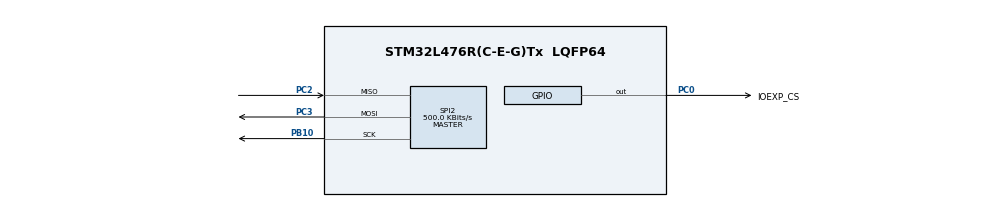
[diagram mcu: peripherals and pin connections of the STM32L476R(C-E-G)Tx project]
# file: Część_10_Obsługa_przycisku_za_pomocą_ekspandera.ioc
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Mcu.Family=STM32L4
Mcu.Name=STM32L476R(C-E-G)Tx
Mcu.Package=LQFP64
NVIC.PriorityGroup=NVIC_PRIORITYGROUP_4
PB10.Mode=Full_Duplex_Master
PB10.Signal=SPI2_SCK
PC0.GPIO_Label=IOEXP_CS
PC0.PinState=GPIO_PIN_SET
PC0.Signal=GPIO_Output
PC2.Mode=Full_Duplex_Master
PC2.Signal=SPI2_MISO
PC3.Mode=Full_Duplex_Master
PC3.Signal=SPI2_MOSI
ProjectManager.HeapSize=0x200
ProjectManager.StackSize=0x400
ProjectManager.TargetToolchain=STM32CubeIDE
RCC.HSE_VALUE=8000000
RCC.HSI_VALUE=16000000
RCC.LSE_VALUE=32768
RCC.MSI_VALUE=4000000
RCC.VCOOutputFreq_Value=32000000
SPI2.BaudRatePrescaler=SPI_BAUDRATEPRESCALER_8
SPI2.CalculateBaudRate=500.0 KBits/s
SPI2.DataSize=SPI_DATASIZE_8BIT
SPI2.Direction=SPI_DIRECTION_2LINES
SPI2.Mode=SPI_MODE_MASTER
SPI2.VirtualType=VM_MASTER
board=custom

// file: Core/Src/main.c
/* USER CODE BEGIN Header */
/**
  ******************************************************************************
  * @file           : main.c
  * @brief          : Main program body
  ******************************************************************************
  * @attention
  *
  * Copyright (c) 2026 STMicroelectronics.
  * All rights reserved.
  *
  * This software is licensed under terms that can be found in the LICENSE file
  * in the root directory of this software component.
  * If no LICENSE file comes with this software, it is provided AS-IS.
  *
  ******************************************************************************
  */
/* USER CODE END Header */
#include "main.h"

/* USER CODE BEGIN PD */
#define MCP_IODIR		0x00
#define MCP_IPOL		0x01
#define MCP_GPINTEN		0x02
#define MCP_DEFVAL		0x03
#define MCP_INTCON		0x04
#define MCP_IOCON		0x05
#define MCP_GPPU		0x06
#define MCP_INTF		0x07
#define MCP_INTCAP		0x08
#define MCP_GPIO		0x09
#define MCP_OLAT		0x0A

/* USER CODE END PD */

SPI_HandleTypeDef hspi2;

void SystemClock_Config(void);
static void MX_GPIO_Init(void);
static void MX_SPI2_Init(void);

/* USER CODE BEGIN 0 */
void mcp_reg_write(uint8_t reg, uint8_t value)
{
	uint8_t tx[3] = { 0x40, reg, value };
	HAL_GPIO_WritePin(IOEXP_CS_GPIO_Port, IOEXP_CS_Pin, GPIO_PIN_RESET);
	HAL_SPI_Transmit(&hspi2, tx, 3, HAL_MAX_DELAY);
	HAL_GPIO_WritePin(IOEXP_CS_GPIO_Port, IOEXP_CS_Pin, GPIO_PIN_SET);
}

uint8_t mcp_reg_read(uint8_t reg)
{
	uint8_t txrx[3] = { 0x41, reg, 0xff};
	HAL_GPIO_WritePin(IOEXP_CS_GPIO_Port, IOEXP_CS_Pin, GPIO_PIN_RESET);
	HAL_SPI_TransmitReceive(&hspi2, txrx, txrx, 3, HAL_MAX_DELAY);
	HAL_GPIO_WritePin(IOEXP_CS_GPIO_Port, IOEXP_CS_Pin, GPIO_PIN_SET);
	return txrx[2];
}
/* USER CODE END 0 */

int main(void)
{

  /* MCU Configuration--------------------------------------------------------*/

  /* Reset of all peripherals, Initializes the Flash interface and the Systick. */
  HAL_Init();

  /* Configure the system clock */
  SystemClock_Config();

  /* Initialize all configured peripherals */
  MX_GPIO_Init();
  MX_SPI2_Init();

  /* Infinite loop */
  /* USER CODE BEGIN WHILE */
  mcp_reg_write(MCP_IODIR, 0xFE);
  // włącz rezystor podciągający dla GP1
  mcp_reg_write(MCP_GPPU, 0x02);

  while (1)
  {
    /* USER CODE END WHILE */
	  if ((mcp_reg_read(MCP_GPIO) & 0x02) == 0) {
	     // włącz diodę
	     mcp_reg_write(MCP_OLAT, 0x01);
	   } else {
	     // wyłącz diodę
	     mcp_reg_write(MCP_OLAT, 0x00);
	   }

  }
}

void SystemClock_Config(void)
{
  RCC_OscInitTypeDef RCC_OscInitStruct = {0};
  RCC_ClkInitTypeDef RCC_ClkInitStruct = {0};

  /** Configure the main internal regulator output voltage
  */
  if (HAL_PWREx_ControlVoltageScaling(PWR_REGULATOR_VOLTAGE_SCALE1) != HAL_OK)
  {
    Error_Handler();
  }

  /** Initializes the RCC Oscillators according to the specified parameters
  * in the RCC_OscInitTypeDef structure.
  */
  RCC_OscInitStruct.OscillatorType = RCC_OSCILLATORTYPE_MSI;
  RCC_OscInitStruct.MSIState = RCC_MSI_ON;
  RCC_OscInitStruct.MSICalibrationValue = 0;
  RCC_OscInitStruct.MSIClockRange = RCC_MSIRANGE_6;
  RCC_OscInitStruct.PLL.PLLState = RCC_PLL_NONE;
  if (HAL_RCC_OscConfig(&RCC_OscInitStruct) != HAL_OK)
  {
    Error_Handler();
  }

  /** Initializes the CPU, AHB and APB buses clocks
  */
  RCC_ClkInitStruct.ClockType = RCC_CLOCKTYPE_HCLK|RCC_CLOCKTYPE_SYSCLK
                              |RCC_CLOCKTYPE_PCLK1|RCC_CLOCKTYPE_PCLK2;
  RCC_ClkInitStruct.SYSCLKSource = RCC_SYSCLKSOURCE_MSI;
  RCC_ClkInitStruct.AHBCLKDivider = RCC_SYSCLK_DIV1;
  RCC_ClkInitStruct.APB1CLKDivider = RCC_HCLK_DIV1;
  RCC_ClkInitStruct.APB2CLKDivider = RCC_HCLK_DIV1;

  if (HAL_RCC_ClockConfig(&RCC_ClkInitStruct, FLASH_LATENCY_0) != HAL_OK)
  {
    Error_Handler();
  }
}

static void MX_SPI2_Init(void)
{

  /* SPI2 parameter configuration*/
  hspi2.Instance = SPI2;
  hspi2.Init.Mode = SPI_MODE_MASTER;
  hspi2.Init.Direction = SPI_DIRECTION_2LINES;
  hspi2.Init.DataSize = SPI_DATASIZE_8BIT;
  hspi2.Init.CLKPolarity = SPI_POLARITY_LOW;
  hspi2.Init.CLKPhase = SPI_PHASE_1EDGE;
  hspi2.Init.NSS = SPI_NSS_SOFT;
  hspi2.Init.BaudRatePrescaler = SPI_BAUDRATEPRESCALER_8;
  hspi2.Init.FirstBit = SPI_FIRSTBIT_MSB;
  hspi2.Init.TIMode = SPI_TIMODE_DISABLE;
  hspi2.Init.CRCCalculation = SPI_CRCCALCULATION_DISABLE;
  hspi2.Init.CRCPolynomial = 7;
  hspi2.Init.CRCLength = SPI_CRC_LENGTH_DATASIZE;
  hspi2.Init.NSSPMode = SPI_NSS_PULSE_ENABLE;
  if (HAL_SPI_Init(&hspi2) != HAL_OK)
  {
    Error_Handler();
  }

}

static void MX_GPIO_Init(void)
{
  GPIO_InitTypeDef GPIO_InitStruct = {0};

  /* GPIO Ports Clock Enable */
  __HAL_RCC_GPIOC_CLK_ENABLE();
  __HAL_RCC_GPIOB_CLK_ENABLE();

  /*Configure GPIO pin Output Level */
  HAL_GPIO_WritePin(IOEXP_CS_GPIO_Port, IOEXP_CS_Pin, GPIO_PIN_SET);

  /*Configure GPIO pin : IOEXP_CS_Pin */
  GPIO_InitStruct.Pin = IOEXP_CS_Pin;
  GPIO_InitStruct.Mode = GPIO_MODE_OUTPUT_PP;
  GPIO_InitStruct.Pull = GPIO_NOPULL;
  GPIO_InitStruct.Speed = GPIO_SPEED_FREQ_LOW;
  HAL_GPIO_Init(IOEXP_CS_GPIO_Port, &GPIO_InitStruct);

}

void Error_Handler(void)
{
  __disable_irq();
  while (1)
  {
  }
}
